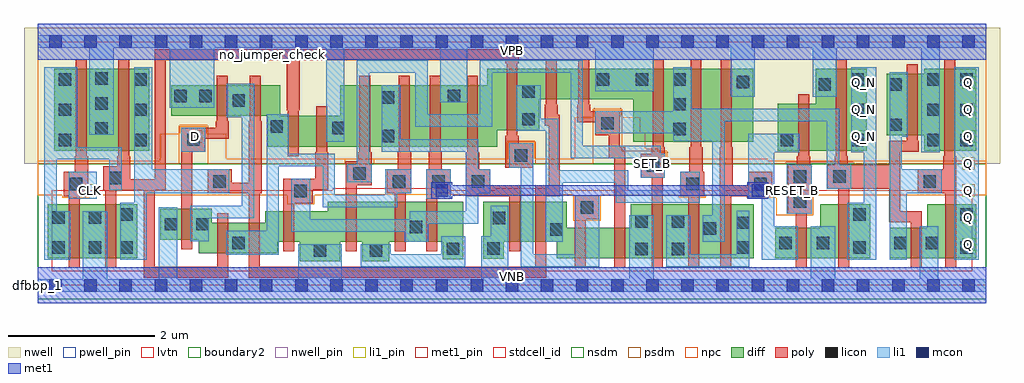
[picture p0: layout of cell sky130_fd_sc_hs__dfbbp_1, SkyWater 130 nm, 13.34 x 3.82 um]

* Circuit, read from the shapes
.subckt sky130_fd_sc_hs__dfbbp_1 CLK D Q Q_N RESET_B SET_B VGND VNB VPB VPWR
XM1 VGND CLK n1 VNB sky130_fd_pr__nfet_01v8_lvt w=0.74 l=0.15
XM2 n2 n1 VGND VNB sky130_fd_pr__nfet_01v8_lvt w=0.74 l=0.15
XM3 n3 D VGND VNB sky130_fd_pr__nfet_01v8_lvt w=0.42 l=0.15
XM4 n4 n1 n3 VNB sky130_fd_pr__nfet_01v8_lvt w=0.42 l=0.15
XM5 n5 n2 n4 VNB sky130_fd_pr__nfet_01v8_lvt w=0.42 l=0.15
XM6 VGND n6 n5 VNB sky130_fd_pr__nfet_01v8_lvt w=0.42 l=0.15
XM7 n7 SET_B VGND VNB sky130_fd_pr__nfet_01v8_lvt w=0.55 l=0.15
XM8 n6 n4 n7 VNB sky130_fd_pr__nfet_01v8_lvt w=0.55 l=0.15
XM9 n7 n8 n6 VNB sky130_fd_pr__nfet_01v8_lvt w=0.55 l=0.15
XM10 n9 n6 VGND VNB sky130_fd_pr__nfet_01v8_lvt w=0.55 l=0.15
XM11 n10 n2 n9 VNB sky130_fd_pr__nfet_01v8_lvt w=0.55 l=0.15
XM12 n11 n1 n10 VNB sky130_fd_pr__nfet_01v8_lvt w=0.42 l=0.15
XM13 VGND n12 n11 VNB sky130_fd_pr__nfet_01v8_lvt w=0.42 l=0.15
XM14 n13 SET_B VGND VNB sky130_fd_pr__nfet_01v8_lvt w=0.74 l=0.15
XM15 n12 n10 n13 VNB sky130_fd_pr__nfet_01v8_lvt w=0.74 l=0.15
XM16 n13 n8 n12 VNB sky130_fd_pr__nfet_01v8_lvt w=0.74 l=0.15
XM17 VGND RESET_B n8 VNB sky130_fd_pr__nfet_01v8_lvt w=0.42 l=0.15
XM18 Q_N n12 VGND VNB sky130_fd_pr__nfet_01v8_lvt w=0.74 l=0.15
XM19 VGND n12 n14 VNB sky130_fd_pr__nfet_01v8_lvt w=0.42 l=0.15
XM20 Q n14 VGND VNB sky130_fd_pr__nfet_01v8_lvt w=0.74 l=0.15
XM21 VPWR CLK n1 VPB sky130_fd_pr__pfet_01v8 w=1.12 l=0.15
XM22 n2 n1 VPWR VPB sky130_fd_pr__pfet_01v8 w=1.12 l=0.15
XM23 n3 D VPWR VPB sky130_fd_pr__pfet_01v8 w=0.42 l=0.15
XM24 n4 n2 n3 VPB sky130_fd_pr__pfet_01v8 w=0.42 l=0.15
XM25 n15 n1 n4 VPB sky130_fd_pr__pfet_01v8 w=0.42 l=0.15
XM26 VPWR n6 n15 VPB sky130_fd_pr__pfet_01v8 w=0.42 l=0.15
XM27 n6 SET_B VPWR VPB sky130_fd_pr__pfet_01v8 w=0.84 l=0.15
XM28 n16 n4 n6 VPB sky130_fd_pr__pfet_01v8 w=0.84 l=0.15
XM29 VPWR n8 n16 VPB sky130_fd_pr__pfet_01v8 w=0.84 l=0.15
XM30 n17 n6 VPWR VPB sky130_fd_pr__pfet_01v8 w=0.84 l=0.15
XM31 n10 n1 n17 VPB sky130_fd_pr__pfet_01v8 w=0.84 l=0.15
XM32 n18 n2 n10 VPB sky130_fd_pr__pfet_01v8 w=0.42 l=0.15
XM33 VPWR n12 n18 VPB sky130_fd_pr__pfet_01v8 w=0.42 l=0.15
XM34 n12 SET_B VPWR VPB sky130_fd_pr__pfet_01v8 w=1 l=0.15
XM35 n19 n10 n12 VPB sky130_fd_pr__pfet_01v8 w=1 l=0.15
XM36 VPWR n8 n19 VPB sky130_fd_pr__pfet_01v8 w=1 l=0.15
XM37 VPWR RESET_B n8 VPB sky130_fd_pr__pfet_01v8 w=0.64 l=0.15
XM38 Q_N n12 VPWR VPB sky130_fd_pr__pfet_01v8 w=1.12 l=0.15
XM39 VPWR n12 n14 VPB sky130_fd_pr__pfet_01v8 w=0.84 l=0.15
XM40 Q n14 VPWR VPB sky130_fd_pr__pfet_01v8 w=1.12 l=0.15
.ends

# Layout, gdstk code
import gdstk
lib = gdstk.Library(unit=1e-6, precision=1e-09)
def R(c, l, rs):  # rectangles x0, y0, x1, y1
    for r in rs: c.add(gdstk.rectangle(r[:2], r[2:], *l))
def A(c, l, x, y, w, h, nx, ny, dx, dy):  # array of equal rectangles
    R(c, l, [(x+i*dx, y+j*dy, x+i*dx+w, y+j*dy+h) for i in range(nx) for j in range(ny)])
def P(c, l, *ps):  # polygons
    for p in ps: c.add(gdstk.Polygon(p, *l))
nwell_pin = (64, 16)
nwell = (64, 20)
diff = (65, 20)
poly = (66, 20)
licon = (66, 44)
li1_pin = (67, 16)
li1 = (67, 20)
mcon = (67, 44)
met1_pin = (68, 16)
met1 = (68, 20)
stdcell_id = (81, 4)
nsdm = (93, 44)
psdm = (94, 20)
npc = (95, 20)
pwell_pin = (122, 16)
lvtn = (125, 44)
boundary2 = (236, 0)

sky130_fd_sc_hs__dfbbp_1 = lib.new_cell('sky130_fd_sc_hs__dfbbp_1')
R(sky130_fd_sc_hs__dfbbp_1, nwell_pin, [(0,3.085,12.96,3.33)])
R(sky130_fd_sc_hs__dfbbp_1, nwell, [(-0.19,1.66,13.15,3.52)])
R(sky130_fd_sc_hs__dfbbp_1, diff, [(0.135,0.37,1.355,1.11), (0.225,1.84,1.525,2.96)])
P(sky130_fd_sc_hs__dfbbp_1, diff, [(5.815,1.145),(3.96,1.145),(3.96,1.015),(3.105,1.015),(3.105,0.855),(2.375,0.855),(2.375,1.045),(1.675,1.045),(1.675,0.625),(2.2,0.625),(2.2,0.435),(3.28,0.435),(3.28,0.595),(3.58,0.595),(3.58,0.33),(4.135,0.33),(4.135,0.595),(4.435,0.595),(4.435,0.33),(4.805,0.33),(4.805,0.595),(5.535,0.595),(5.535,0.355),(5.815,0.355)],
  [(9.78,2.96),(6.14,2.96),(6.14,2.735),(4.13,2.735),(4.13,2.315),(3.31,2.315),(3.31,2.735),(1.825,2.735),(1.825,2.315),(3.135,2.315),(3.135,1.895),(6.28,1.895),(6.28,2.12),(6.85,2.12),(6.85,2.54),(8.14,2.54),(8.14,1.96),(9.78,1.96)],
  [(9.785,1.11),(8.105,1.11),(8.105,0.79),(7.23,0.79),(7.23,1.145),(6.085,1.145),(6.085,0.36),(6.365,0.36),(6.365,0.595),(7.09,0.595),(7.09,0.37),(9.785,0.37)],
  [(11.33,2.96),(10.63,2.96),(10.63,2.48),(10.115,2.48),(10.115,1.84),(11.33,1.84)],
  [(11.375,1.11),(10.69,1.11),(10.69,0.79),(10.075,0.79),(10.075,0.37),(11.375,0.37)],
  [(12.825,2.96),(12.115,2.96),(12.115,2.89),(11.6,2.89),(11.6,2.05),(12.115,2.05),(12.115,1.84),(12.825,1.84)],
  [(12.825,1.11),(12.155,1.11),(12.155,0.79),(11.645,0.79),(11.645,0.37),(12.825,0.37)])
P(sky130_fd_sc_hs__dfbbp_1, poly, [(7.13,2.33),(7.105,2.33),(7.105,2.465),(7.09,2.465),(7.09,3.09),(6.94,3.09),(6.94,2.465),(6.925,2.465),(6.925,2.18),(6.98,2.18),(6.98,1.37),(6.8,1.37),(6.8,0.255),(3.03,0.255),(3.03,1.255),(3.06,1.255),(3.06,2.24),(3.045,2.24),(3.045,2.865),(2.895,2.865),(2.895,2.24),(2.88,2.24),(2.88,1.405),(2.65,1.405),(2.65,1.585),(2.32,1.585),(2.32,1.255),(2.88,1.255),(2.88,0.105),(6.95,0.105),(6.95,1.22),(7.13,1.22)],
  [(6.77,1.94),(6.57,1.94),(6.57,2.045),(6.555,2.045),(6.555,3.035),(6.57,3.035),(6.57,3.225),(1.6,3.225),(1.6,1.45),(1.265,1.45),(1.265,1.765),(1.25,1.765),(1.25,3.09),(1.1,3.09),(1.1,1.765),(1.085,1.765),(1.085,1.63),(0.895,1.63),(0.895,1.3),(0.92,1.3),(0.92,0.24),(1.07,0.24),(1.07,1.3),(1.45,1.3),(1.45,0.105),(2.6,0.105),(2.6,0.985),(2.45,0.985),(2.45,0.255),(1.6,0.255),(1.6,1.3),(1.75,1.3),(1.75,3.075),(3.4,3.075),(3.4,2.39),(3.415,2.39),(3.415,1.765),(3.565,1.765),(3.565,2.39),(3.58,2.39),(3.58,3.075),(6.39,3.075),(6.39,3.035),(6.405,3.035),(6.405,2.045),(6.39,2.045),(6.39,1.61),(6.77,1.61)],
  [(8.03,1.885),(7.95,1.885),(7.95,2.38),(7.55,2.38),(7.55,2.465),(7.535,2.465),(7.535,3.09),(7.385,3.09),(7.385,2.465),(7.37,2.465),(7.37,2.23),(7.62,2.23),(7.62,2.05),(7.8,2.05),(7.8,1.735),(7.88,1.735),(7.88,0.24),(8.03,0.24)],
  [(7.67,1.23),(7.34,1.23),(7.34,0.24),(7.49,0.24),(7.49,0.9),(7.67,0.9)],
  [(6.59,1.37),(6.18,1.37),(6.18,1.585),(6.03,1.585),(6.03,1.82),(6.015,1.82),(6.015,2.865),(5.865,2.865),(5.865,1.82),(5.85,1.82),(5.85,1.22),(6.44,1.22),(6.44,0.465),(6.59,0.465)],
  [(5.64,1.585),(5.52,1.585),(5.52,1.82),(5.505,1.82),(5.505,2.865),(5.355,2.865),(5.355,1.82),(5.34,1.82),(5.34,1.585),(5.31,1.585),(5.31,0.465),(5.46,0.465),(5.46,1.255),(5.64,1.255)],
  [(5.1,1.82),(5.085,1.82),(5.085,2.865),(4.935,2.865),(4.935,1.82),(4.92,1.82),(4.92,1.585),(4.77,1.585),(4.77,1.255),(4.88,1.255),(4.88,0.465),(5.03,0.465),(5.03,1.255),(5.1,1.255)],
  [(4.56,1.82),(4.545,1.82),(4.545,2.865),(4.395,2.865),(4.395,1.82),(4.38,1.82),(4.38,1.695),(4.21,1.695),(4.21,0.465),(4.36,0.465),(4.36,1.365),(4.56,1.365)],
  [(3.97,1.82),(3.955,1.82),(3.955,2.445),(3.805,2.445),(3.805,1.82),(3.79,1.82),(3.79,1.455),(3.355,1.455),(3.355,0.465),(3.505,0.465),(3.505,1.125),(3.755,1.125),(3.755,1.305),(3.97,1.305)],
  [(2.61,2.24),(2.595,2.24),(2.595,2.865),(2.445,2.865),(2.445,2.24),(2.43,2.24),(2.43,2.155),(1.96,2.155),(1.96,0.495),(2.11,0.495),(2.11,1.825),(2.29,1.825),(2.29,2.005),(2.61,2.005)],
  [(0.685,1.765),(0.67,1.765),(0.67,3.09),(0.52,3.09),(0.52,1.765),(0.505,1.765),(0.505,1.55),(0.355,1.55),(0.355,1.22),(0.42,1.22),(0.42,0.24),(0.57,0.24),(0.57,1.22),(0.685,1.22)],
  [(8.57,1.885),(8.555,1.885),(8.555,3.09),(8.405,3.09),(8.405,1.885),(8.39,1.885),(8.39,1.8),(8.24,1.8),(8.24,1.47),(8.39,1.47),(8.39,0.24),(8.54,0.24),(8.54,1.47),(8.57,1.47)],
  [(9.11,1.55),(9.085,1.55),(9.085,1.885),(9.07,1.885),(9.07,3.09),(8.92,3.09),(8.92,1.885),(8.905,1.885),(8.905,1.55),(8.78,1.55),(8.78,1.22),(8.89,1.22),(8.89,0.24),(9.04,0.24),(9.04,1.22),(9.11,1.22)],
  [(10.04,1.55),(9.71,1.55),(9.71,1.37),(9.5,1.37),(9.5,1.885),(9.485,1.885),(9.485,3.09),(9.335,3.09),(9.335,1.885),(9.32,1.885),(9.32,1.22),(9.325,1.22),(9.325,0.24),(9.475,0.24),(9.475,1.22),(10.04,1.22)],
  [(10.58,1.65),(10.555,1.65),(10.555,1.765),(10.54,1.765),(10.54,2.61),(10.39,2.61),(10.39,1.765),(10.375,1.765),(10.375,1.65),(10.25,1.65),(10.25,0.98),(10.36,0.98),(10.36,0.24),(10.51,0.24),(10.51,0.98),(10.58,0.98)],
  [(12.08,1.015),(11.785,1.015),(11.785,1.825),(12.04,1.825),(12.04,1.975),(12.025,1.975),(12.025,3.02),(11.875,3.02),(11.875,1.975),(11.635,1.975),(11.635,1.65),(11.07,1.65),(11.07,1.765),(11.055,1.765),(11.055,3.09),(10.905,3.09),(10.905,1.765),(10.89,1.765),(10.89,1.65),(10.79,1.65),(10.79,1.32),(10.94,1.32),(10.94,0.24),(11.09,0.24),(11.09,1.32),(11.635,1.32),(11.635,0.865),(11.93,0.865),(11.93,0.24),(12.08,0.24)],
  [(12.555,1.765),(12.54,1.765),(12.54,3.09),(12.39,3.09),(12.39,1.765),(12.375,1.765),(12.375,1.585),(12.025,1.585),(12.025,1.255),(12.405,1.255),(12.405,0.24),(12.555,0.24)])
A(sky130_fd_sc_hs__dfbbp_1, licon, 4.85, 1.335, 0.17, 0.17, 3, 1, 0.54, 0)
A(sky130_fd_sc_hs__dfbbp_1, licon, 0.285, 1.9, 0.17, 0.17, 1, 3, 0, 0.415)
A(sky130_fd_sc_hs__dfbbp_1, licon, 1.315, 1.9, 0.17, 0.17, 1, 3, 0, 0.415)
A(sky130_fd_sc_hs__dfbbp_1, licon, 11.12, 1.9, 0.17, 0.17, 1, 3, 0, 0.415)
A(sky130_fd_sc_hs__dfbbp_1, licon, 12.155, 1.9, 0.17, 0.17, 1, 3, 0, 0.415)
A(sky130_fd_sc_hs__dfbbp_1, licon, 12.605, 1.9, 0.17, 0.17, 1, 3, 0, 0.415)
A(sky130_fd_sc_hs__dfbbp_1, licon, 8.685, 2.05, 0.17, 0.17, 1, 3, 0, 0.34)
A(sky130_fd_sc_hs__dfbbp_1, licon, 0.785, 2.06, 0.17, 0.17, 1, 3, 0, 0.34)
R(sky130_fd_sc_hs__dfbbp_1, licon, [(3.77,0.39,3.94,0.56), (4.535,0.39,4.705,0.56), (8.165,0.41,8.335,0.58), (8.665,0.41,8.835,0.58), (5.59,0.415,5.76,0.585), (6.14,0.42,6.31,0.59), (0.195,0.43,0.365,0.6), (0.695,0.43,0.865,0.6), (1.125,0.43,1.295,0.6), (9.555,0.43,9.725,0.6), (11.145,0.43,11.315,0.6), (12.61,0.43,12.78,0.6), (2.655,0.495,2.825,0.665), (10.135,0.495,10.305,0.665), (10.645,0.495,10.815,0.665), (11.705,0.495,11.875,0.665), (12.135,0.495,12.305,0.665), (7.005,0.675,7.175,0.845), (9.1,0.69,9.27,0.86), (5.085,0.715,5.255,0.885), (1.735,0.75,1.905,0.92), (2.165,0.75,2.335,0.92), (9.555,0.77,9.725,0.94), (8.165,0.79,8.335,0.96), (8.665,0.79,8.835,0.96), (6.215,0.835,6.385,1.005), (0.195,0.84,0.365,1.01), (0.695,0.84,0.865,1.01), (1.125,0.88,1.295,1.05), (11.145,0.88,11.315,1.05), (12.61,0.88,12.78,1.05), (7.42,0.98,7.59,1.15), (10.33,1.06,10.5,1.23), (3.505,1.205,3.675,1.375), (0.435,1.3,0.605,1.47), (8.86,1.3,9.03,1.47), (9.79,1.3,9.96,1.47), (2.4,1.335,2.57,1.505), (12.105,1.335,12.275,1.505), (0.975,1.38,1.145,1.55), (10.33,1.4,10.5,1.57), (10.87,1.4,11.04,1.57), (4.31,1.445,4.48,1.615), (8.32,1.55,8.49,1.72), (6.52,1.69,6.69,1.86), (10.155,1.9,10.325,2.07), (2.04,1.905,2.21,2.075), (4.7,1.955,4.87,2.125), (4.02,2.065,4.19,2.235), (3.18,2.085,3.35,2.255), (11.64,2.11,11.81,2.28), (7.7,2.13,7.87,2.3), (6.62,2.185,6.79,2.355), (2.66,2.44,2.83,2.61), (4.7,2.485,4.87,2.655), (1.865,2.505,2.035,2.675), (2.205,2.505,2.375,2.675), (5.6,2.505,5.77,2.675), (6.62,2.565,6.79,2.735), (10.67,2.66,10.84,2.83), (11.64,2.66,11.81,2.83), (9.55,2.695,9.72,2.865), (7.64,2.73,7.81,2.9), (8.17,2.73,8.34,2.9)])
A(sky130_fd_sc_hs__dfbbp_1, li1_pin, 12.635, 0.47, 0.17, 0.17, 1, 7, 0, 0.37)
A(sky130_fd_sc_hs__dfbbp_1, li1_pin, 11.195, 1.95, 0.17, 0.17, 1, 3, 0, 0.37)
R(sky130_fd_sc_hs__dfbbp_1, li1_pin, [(0.635,1.21,0.805,1.38), (10.235,1.21,10.405,1.38), (8.315,1.58,8.485,1.75), (2.075,1.95,2.245,2.12)])
R(sky130_fd_sc_hs__dfbbp_1, li1, [(12.525,0.35,12.86,2.98), (10.235,0.98,10.58,1.65), (0.425,1.18,0.805,1.55), (5.31,1.18,5.64,1.585), (1.96,1.825,2.29,2.155)])
P(sky130_fd_sc_hs__dfbbp_1, li1, [(12.96,0.085),(12.305,0.085),(12.305,0.81),(12.055,0.81),(12.055,0.085),(10.895,0.085),(10.895,0.81),(10.565,0.81),(10.565,0.085),(8.415,0.085),(8.415,0.96),(8.085,0.96),(8.085,0.085),(6.43,0.085),(6.43,1.085),(6.19,1.085),(6.19,0.67),(6.06,0.67),(6.06,0.085),(4.155,0.085),(4.155,0.56),(3.56,0.56),(3.56,0.085),(1.905,0.085),(1.905,1.065),(1.655,1.065),(1.655,0.085),(0.945,0.085),(0.945,1.01),(0.615,1.01),(0.615,0.085),(0,0.085),(0,-0.085),(12.96,-0.085)],
  [(0,3.245),(0,3.415),(12.96,3.415),(12.96,3.245),(12.325,3.245),(12.325,1.82),(12.075,1.82),(12.075,3.245),(10.92,3.245),(10.92,2.58),(10.59,2.58),(10.59,3.245),(9.8,3.245),(9.8,2.58),(9.47,2.58),(9.47,3.245),(8.42,3.245),(8.42,2.65),(7.62,2.65),(7.62,3.245),(5.87,3.245),(5.87,2.505),(5.5,2.505),(5.5,3.245),(4.19,3.245),(4.19,1.965),(3.94,1.965),(3.94,3.245),(2.41,3.245),(2.41,2.425),(1.805,2.425),(1.805,3.245),(1.035,3.245),(1.035,2.06),(0.705,2.06),(0.705,3.245)],
  [(11.12,1.82),(11.12,2.98),(11.46,2.98),(11.46,0.35),(11.065,0.35),(11.065,1.13),(11.29,1.13),(11.29,1.82)],
  [(7.45,1.91),(8.515,1.91),(8.515,1.8),(8.57,1.8),(8.57,1.47),(8.24,1.47),(8.24,1.74),(7.28,1.74),(7.28,2.905),(6.21,2.905),(6.21,2.165),(5.16,2.165),(5.16,2.905),(4.53,2.905),(4.53,1.655),(4.56,1.655),(4.56,1.41),(4.23,1.41),(4.23,1.655),(4.36,1.655),(4.36,3.075),(5.33,3.075),(5.33,2.335),(6.04,2.335),(6.04,3.075),(7.45,3.075)],
  [(6.94,2.11),(6.54,2.11),(6.54,2.735),(6.87,2.735),(6.87,2.28),(7.11,2.28),(7.11,1.57),(8.07,1.57),(8.07,1.3),(8.78,1.3),(8.78,1.55),(9.045,1.55),(9.045,1.13),(7.9,1.13),(7.9,1.4),(7.175,1.4),(7.175,0.595),(6.94,0.595)],
  [(0.535,1.89),(1.145,1.89),(1.145,1.3),(0.975,1.3),(0.975,1.72),(0.255,1.72),(0.255,1.01),(0.445,1.01),(0.445,0.35),(0.085,0.35),(0.085,2.98),(0.535,2.98)],
  [(3.43,1.795),(4.06,1.795),(4.06,1.24),(4.745,1.24),(4.745,1.585),(5.1,1.585),(5.1,1.255),(4.915,1.255),(4.915,1.07),(3.89,1.07),(3.89,1.625),(3.295,1.625),(3.295,0.415),(2.575,0.415),(2.575,0.745),(3.125,0.745),(3.125,2.335),(3.43,2.335)],
  [(9.215,0.96),(9.215,1.97),(8.685,1.97),(8.685,2.08),(7.62,2.08),(7.62,2.38),(8.685,2.38),(8.685,2.98),(8.935,2.98),(8.935,2.41),(10.95,2.41),(10.95,1.65),(11.12,1.65),(11.12,1.32),(10.78,1.32),(10.78,2.24),(9.385,2.24),(9.385,0.595),(9.085,0.595),(9.085,0.96)],
  [(9.71,1.19),(9.71,2.07),(10.405,2.07),(10.405,1.82),(10.065,1.82),(10.065,0.81),(10.385,0.81),(10.385,0.35),(9.895,0.35),(9.895,1.19)],
  [(11.64,2.91),(11.89,2.91),(11.89,2.03),(11.81,2.03),(11.81,1.585),(12.355,1.585),(12.355,1.255),(11.875,1.255),(11.875,0.35),(11.64,0.35)],
  [(6.6,0.255),(6.6,1.61),(6.44,1.61),(6.44,1.94),(6.77,1.94),(6.77,0.425),(7.345,0.425),(7.345,1.23),(7.67,1.23),(7.67,0.255)],
  [(6.02,0.84),(5.335,0.84),(5.335,0.595),(5.015,0.595),(5.015,0.73),(3.465,0.73),(3.465,1.455),(3.72,1.455),(3.72,0.9),(5.085,0.9),(5.085,1.01),(5.85,1.01),(5.85,1.825),(4.7,1.825),(4.7,2.735),(4.95,2.735),(4.95,1.995),(6.02,1.995),(6.02,1.585),(6.18,1.585),(6.18,1.255),(6.02,1.255)],
  [(9.555,0.425),(9.555,1.02),(9.725,1.02),(9.725,0.255),(8.585,0.255),(8.585,0.96),(8.915,0.96),(8.915,0.425)],
  [(1.565,1.585),(2.615,1.585),(2.615,1.255),(1.485,1.255),(1.485,0.35),(1.125,0.35),(1.125,1.13),(1.315,1.13),(1.315,2.98),(1.565,2.98)],
  [(2.085,0.605),(2.085,1.085),(2.785,1.085),(2.785,2.295),(2.58,2.295),(2.58,2.755),(2.955,2.755),(2.955,0.915),(2.335,0.915),(2.335,0.605)],
  [(5.51,0.425),(5.51,0.67),(5.84,0.67),(5.84,0.255),(4.415,0.255),(4.415,0.56),(4.825,0.56),(4.825,0.425)])
A(sky130_fd_sc_hs__dfbbp_1, mcon, 0.155, -0.085, 0.17, 0.17, 27, 2, 0.48, 3.33)
R(sky130_fd_sc_hs__dfbbp_1, mcon, [(5.435,1.21,5.605,1.38), (9.755,1.21,9.925,1.38)])
R(sky130_fd_sc_hs__dfbbp_1, met1_pin, [(0,0,12.96,0.245), (0,3.085,12.96,3.33)])
R(sky130_fd_sc_hs__dfbbp_1, met1, [(0,-0.245,12.96,0.245), (0,3.085,12.96,3.575)])
P(sky130_fd_sc_hs__dfbbp_1, met1, [(5.665,1.365),(9.695,1.365),(9.695,1.41),(9.985,1.41),(9.985,1.18),(9.695,1.18),(9.695,1.225),(5.665,1.225),(5.665,1.18),(5.375,1.18),(5.375,1.41),(5.665,1.41)])
R(sky130_fd_sc_hs__dfbbp_1, stdcell_id, [(0,0,12.96,3.33)])
R(sky130_fd_sc_hs__dfbbp_1, nsdm, [(0,-0.19,12.96,1.66)])
P(sky130_fd_sc_hs__dfbbp_1, psdm, [(12.96,3.52),(0,3.52),(0,1.66),(1.93,1.66),(1.93,2.185),(2.32,2.185),(2.32,1.66),(4.2,1.66),(4.2,1.725),(4.59,1.725),(4.59,1.66),(6.41,1.66),(6.41,1.97),(6.8,1.97),(6.8,1.66),(7.59,1.66),(7.59,2.41),(7.98,2.41),(7.98,1.83),(8.6,1.83),(8.6,1.66),(10.22,1.66),(10.22,1.68),(11.15,1.68),(11.15,1.66),(12.96,1.66)])
P(sky130_fd_sc_hs__dfbbp_1, npc, [(12.96,1.7),(9.975,1.7),(9.975,1.73),(8.59,1.73),(8.59,1.82),(8.485,1.82),(8.485,1.87),(8.3,1.87),(8.3,2.085),(8.235,2.085),(8.235,2.295),(7.97,2.295),(7.97,2.4),(7.6,2.4),(7.6,2.295),(7.335,2.295),(7.335,1.73),(6.79,1.73),(6.79,1.96),(6.42,1.96),(6.42,1.73),(2.575,1.73),(2.575,2.07),(2.31,2.07),(2.31,2.175),(1.94,2.175),(1.94,2.07),(1.675,2.07),(1.675,1.73),(1.665,1.73),(1.665,1.7),(0,1.7),(0,1.23),(0.335,1.23),(0.335,1.2),(0.705,1.2),(0.705,1.23),(3.405,1.23),(3.405,1.105),(3.775,1.105),(3.775,1.23),(3.87,1.23),(3.87,1.235),(7.32,1.235),(7.32,0.88),(7.69,0.88),(7.69,1.23),(8.76,1.23),(8.76,1.2),(9.13,1.2),(9.13,1.23),(9.69,1.23),(9.69,1.2),(10.09,1.2),(10.09,0.96),(10.6,0.96),(10.6,1.23),(12.96,1.23)])
R(sky130_fd_sc_hs__dfbbp_1, pwell_pin, [(0,0,12.96,0.245)])
P(sky130_fd_sc_hs__dfbbp_1, lvtn, [(12.77,1.3),(7.13,1.3),(7.13,1.325),(6.26,1.325),(6.26,1.3),(5.64,1.3),(5.64,1.325),(4.03,1.325),(4.03,1.3),(0.19,1.3),(0.19,0.19),(12.77,0.19)])
R(sky130_fd_sc_hs__dfbbp_1, boundary2, [(0,0,12.96,3.33)])
sky130_fd_sc_hs__dfbbp_1.add(gdstk.Label('no_jumper_check', (3.2,3.155), layer=83, texttype=44))
sky130_fd_sc_hs__dfbbp_1.add(gdstk.Label('dfbbp_1', (0,0), layer=83, texttype=44))
sky130_fd_sc_hs__dfbbp_1.add(gdstk.Label('VNB', (6.48,0.123), layer=64, texttype=59))
sky130_fd_sc_hs__dfbbp_1.add(gdstk.Label('VPB', (6.48,3.208), layer=64, texttype=5))
sky130_fd_sc_hs__dfbbp_1.add(gdstk.Label('VPWR', (6.48,3.208), layer=68, texttype=5))
sky130_fd_sc_hs__dfbbp_1.add(gdstk.Label('VGND', (6.48,0.123), layer=68, texttype=5))
sky130_fd_sc_hs__dfbbp_1.add(gdstk.Label('Q', (12.72,0.555), layer=67, texttype=5))
sky130_fd_sc_hs__dfbbp_1.add(gdstk.Label('Q', (12.72,0.925), layer=67, texttype=5))
sky130_fd_sc_hs__dfbbp_1.add(gdstk.Label('Q', (12.72,1.295), layer=67, texttype=5))
sky130_fd_sc_hs__dfbbp_1.add(gdstk.Label('Q', (12.72,1.665), layer=67, texttype=5))
sky130_fd_sc_hs__dfbbp_1.add(gdstk.Label('Q', (12.72,2.035), layer=67, texttype=5))
sky130_fd_sc_hs__dfbbp_1.add(gdstk.Label('Q', (12.72,2.405), layer=67, texttype=5))
sky130_fd_sc_hs__dfbbp_1.add(gdstk.Label('Q', (12.72,2.775), layer=67, texttype=5))
sky130_fd_sc_hs__dfbbp_1.add(gdstk.Label('CLK', (0.72,1.295), layer=67, texttype=5))
sky130_fd_sc_hs__dfbbp_1.add(gdstk.Label('D', (2.16,2.035), layer=67, texttype=5))
sky130_fd_sc_hs__dfbbp_1.add(gdstk.Label('RESET_B', (10.32,1.295), layer=67, texttype=5))
sky130_fd_sc_hs__dfbbp_1.add(gdstk.Label('Q_N', (11.28,2.035), layer=67, texttype=5))
sky130_fd_sc_hs__dfbbp_1.add(gdstk.Label('Q_N', (11.28,2.405), layer=67, texttype=5))
sky130_fd_sc_hs__dfbbp_1.add(gdstk.Label('Q_N', (11.28,2.775), layer=67, texttype=5))
sky130_fd_sc_hs__dfbbp_1.add(gdstk.Label('SET_B', (8.4,1.665), layer=67, texttype=5))

lib.write_gds('sky130_fd_sc_hs__dfbbp_1.gds')
